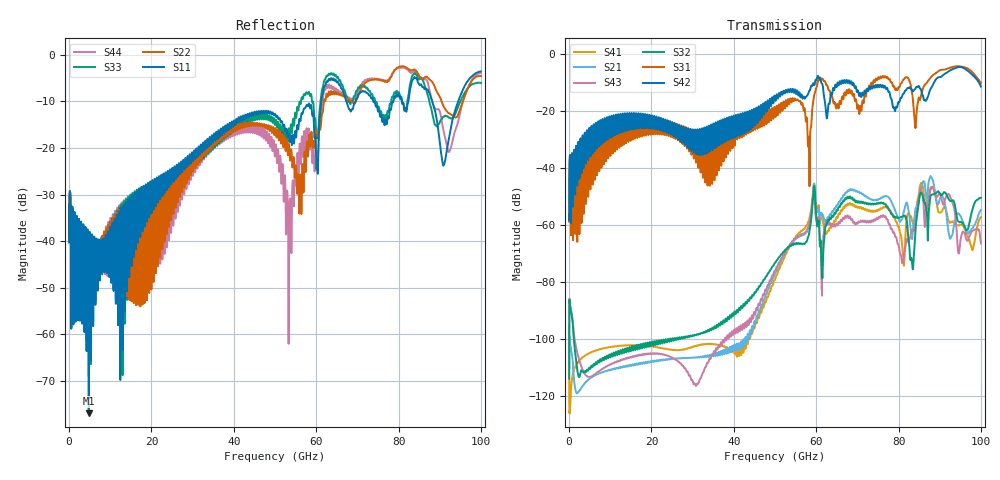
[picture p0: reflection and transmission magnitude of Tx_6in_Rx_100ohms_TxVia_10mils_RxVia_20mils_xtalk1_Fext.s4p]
! Info: Touchstone file created by Circ.  Input file=Tx_6in_Rx_100ohms_TxVia_10mils_RxVia_20mils.circ
# Hz S RI R 50
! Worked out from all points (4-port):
!   10000 points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, 10 MHz to 100 GHz, reference 50 ohm
!   strongest paths, dB at 10 MHz, 25.01 GHz, 50.01 GHz, 75.01 GHz, 100 GHz:
!     S42: -58.2, -24.0, -15.4, -10.7, -11.3
!     S31: -58.8, -23.8, -19.9, -8.2, -10.1
!     S32: -113.7, -100.0, -73.2, -52.4, -50.4
!     S43: -109.8, -106.4, -76.1, -57.6, -66.4
!     S21: -103.7, -107.0, -76.8, -51.1, -54.7
!     S41: -101.0, -103.7, -79.1, -54.8, -57.2
!   lowest |S11| = -76.9 dB at 4.78 GHz (marker M1), VSWR 1.00, Z = 50 - j0.00894 ohm
!   |S11| at or under -10 dB: start of sweep to 61.26 GHz; 73.86 GHz to 78.76 GHz (4.903 GHz wide, 6.42 % of centre); 88.18 GHz to 94.5 GHz (6.318 GHz wide, 6.92 % of centre)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
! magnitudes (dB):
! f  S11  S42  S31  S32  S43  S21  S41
! 10 MHz  -40.1  -58.2  -58.8  -113.7  -109.8  -103.7  -101.0
! 4.78 GHz  -76.9  -28.4  -28.9  -110.3  -113.2  -114.0  -105.0
! 49.24 GHz  -12.7  -15.6  -19.4  -74.8  -77.9  -79.3  -81.3
! 59.33 GHz  -12.9  -10.2  -16.3  -48.7  -48.2  -47.4  -47.0
! 83.25 GHz  -5.7  -12.4  -13.3  -73.0  -61.7  -64.7  -58.1
! 85.45 GHz  -6.4  -12.4  -14.6  -48.5  -47.2  -47.6  -45.3
! 100 GHz  -3.6  -11.3  -10.1  -50.4  -66.4  -54.7  -57.2
